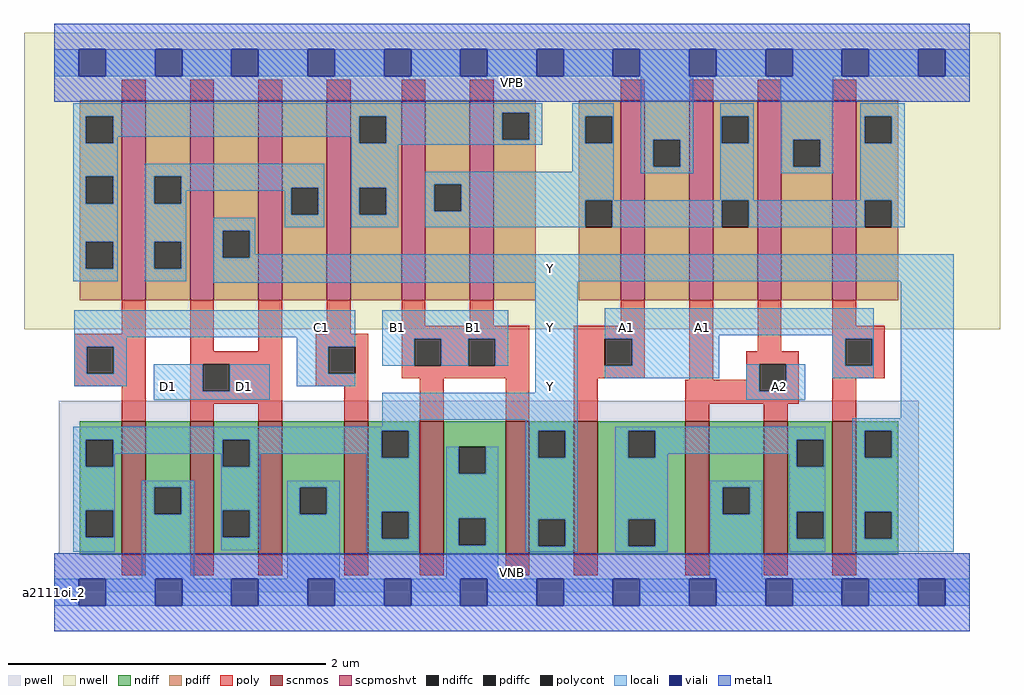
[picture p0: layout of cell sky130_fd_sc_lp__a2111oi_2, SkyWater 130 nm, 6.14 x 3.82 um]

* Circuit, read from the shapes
.subckt sky130_fd_sc_lp__a2111oi_2 A1 A2 B1 C1 D1 VGND VNB VPB VPWR Y
XM1 VGND C1 Y VNB sky130_fd_pr__nfet_01v8 w=0.84 l=0.15 m=2
XM2 Y D1 VGND VNB sky130_fd_pr__nfet_01v8 w=0.84 l=0.15 m=2
XM3 VGND B1 Y VNB sky130_fd_pr__nfet_01v8 w=0.84 l=0.15 m=2
XM4 n1 A1 Y VNB sky130_fd_pr__nfet_01v8 w=0.84 l=0.15 m=2
XM5 VGND A2 n1 VNB sky130_fd_pr__nfet_01v8 w=0.84 l=0.15 m=2
XM6 n2 C1 n3 VPB sky130_fd_pr__pfet_01v8_hvt w=1.26 l=0.15 m=2
XM7 Y D1 n2 VPB sky130_fd_pr__pfet_01v8_hvt w=1.26 l=0.15 m=2
XM8 n4 B1 n3 VPB sky130_fd_pr__pfet_01v8_hvt w=1.26 l=0.15 m=2
XM9 VPWR A1 n4 VPB sky130_fd_pr__pfet_01v8_hvt w=1.26 l=0.15 m=2
XM10 n4 A2 VPWR VPB sky130_fd_pr__pfet_01v8_hvt w=1.26 l=0.15 m=2
.ends

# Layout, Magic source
magic
tech sky130A
magscale 1 2
<< nwell >>
rect -38 331 1190 704
<< pwell >>
rect 6 49 1088 241
rect 0 0 1152 49
<< scnmos >>
rect 85 47 115 215
rect 171 47 201 215
rect 257 47 287 215
rect 365 47 395 215
rect 460 47 490 215
rect 568 47 598 215
rect 654 47 684 215
rect 794 47 824 215
rect 893 47 923 215
rect 979 47 1009 215
<< scpmoshvt >>
rect 85 367 115 619
rect 171 367 201 619
rect 257 367 287 619
rect 343 367 373 619
rect 437 367 467 619
rect 523 367 553 619
rect 713 367 743 619
rect 799 367 829 619
rect 885 367 915 619
rect 979 367 1009 619
<< ndiff >>
rect 32 192 85 215
rect 32 158 40 192
rect 74 158 85 192
rect 32 103 85 158
rect 32 69 40 103
rect 74 69 85 103
rect 32 47 85 69
rect 115 132 171 215
rect 115 98 126 132
rect 160 98 171 132
rect 115 47 171 98
rect 201 192 257 215
rect 201 158 212 192
rect 246 158 257 192
rect 201 103 257 158
rect 201 69 212 103
rect 246 69 257 103
rect 201 47 257 69
rect 287 132 365 215
rect 287 98 309 132
rect 343 98 365 132
rect 287 47 365 98
rect 395 203 460 215
rect 395 169 412 203
rect 446 169 460 203
rect 395 101 460 169
rect 395 67 412 101
rect 446 67 460 101
rect 395 47 460 67
rect 490 183 568 215
rect 490 149 509 183
rect 543 149 568 183
rect 490 93 568 149
rect 490 59 509 93
rect 543 59 568 93
rect 490 47 568 59
rect 598 203 654 215
rect 598 169 609 203
rect 643 169 654 203
rect 598 92 654 169
rect 598 58 609 92
rect 643 58 654 92
rect 598 47 654 58
rect 684 203 794 215
rect 684 169 722 203
rect 756 169 794 203
rect 684 92 794 169
rect 684 58 722 92
rect 756 58 794 92
rect 684 47 794 58
rect 824 132 893 215
rect 824 98 841 132
rect 875 98 893 132
rect 824 47 893 98
rect 923 192 979 215
rect 923 158 934 192
rect 968 158 979 192
rect 923 101 979 158
rect 923 67 934 101
rect 968 67 979 101
rect 923 47 979 67
rect 1009 203 1062 215
rect 1009 169 1020 203
rect 1054 169 1062 203
rect 1009 101 1062 169
rect 1009 67 1020 101
rect 1054 67 1062 101
rect 1009 47 1062 67
<< pdiff >>
rect 32 599 85 619
rect 32 565 40 599
rect 74 565 85 599
rect 32 523 85 565
rect 32 489 40 523
rect 74 489 85 523
rect 32 441 85 489
rect 32 407 40 441
rect 74 407 85 441
rect 32 367 85 407
rect 115 523 171 619
rect 115 489 126 523
rect 160 489 171 523
rect 115 441 171 489
rect 115 407 126 441
rect 160 407 171 441
rect 115 367 171 407
rect 201 455 257 619
rect 201 421 212 455
rect 246 421 257 455
rect 201 367 257 421
rect 287 509 343 619
rect 287 475 298 509
rect 332 475 343 509
rect 287 367 343 475
rect 373 599 437 619
rect 373 565 384 599
rect 418 565 437 599
rect 373 509 437 565
rect 373 475 384 509
rect 418 475 437 509
rect 373 367 437 475
rect 467 513 523 619
rect 467 479 478 513
rect 512 479 523 513
rect 467 367 523 479
rect 553 603 606 619
rect 553 569 564 603
rect 598 569 606 603
rect 553 367 606 569
rect 660 599 713 619
rect 660 565 668 599
rect 702 565 713 599
rect 660 493 713 565
rect 660 459 668 493
rect 702 459 713 493
rect 660 367 713 459
rect 743 569 799 619
rect 743 535 754 569
rect 788 535 799 569
rect 743 367 799 535
rect 829 599 885 619
rect 829 565 840 599
rect 874 565 885 599
rect 829 493 885 565
rect 829 459 840 493
rect 874 459 885 493
rect 829 367 885 459
rect 915 569 979 619
rect 915 535 930 569
rect 964 535 979 569
rect 915 367 979 535
rect 1009 599 1062 619
rect 1009 565 1020 599
rect 1054 565 1062 599
rect 1009 493 1062 565
rect 1009 459 1020 493
rect 1054 459 1062 493
rect 1009 367 1062 459
<< ndiffc >>
rect 40 158 74 192
rect 40 69 74 103
rect 126 98 160 132
rect 212 158 246 192
rect 212 69 246 103
rect 309 98 343 132
rect 412 169 446 203
rect 412 67 446 101
rect 509 149 543 183
rect 509 59 543 93
rect 609 169 643 203
rect 609 58 643 92
rect 722 169 756 203
rect 722 58 756 92
rect 841 98 875 132
rect 934 158 968 192
rect 934 67 968 101
rect 1020 169 1054 203
rect 1020 67 1054 101
<< pdiffc >>
rect 40 565 74 599
rect 40 489 74 523
rect 40 407 74 441
rect 126 489 160 523
rect 126 407 160 441
rect 212 421 246 455
rect 298 475 332 509
rect 384 565 418 599
rect 384 475 418 509
rect 478 479 512 513
rect 564 569 598 603
rect 668 565 702 599
rect 668 459 702 493
rect 754 535 788 569
rect 840 565 874 599
rect 840 459 874 493
rect 930 535 964 569
rect 1020 565 1054 599
rect 1020 459 1054 493
<< poly >>
rect 85 619 115 645
rect 171 619 201 645
rect 257 619 287 645
rect 343 619 373 645
rect 437 619 467 645
rect 523 619 553 645
rect 713 619 743 645
rect 799 619 829 645
rect 885 619 915 645
rect 979 619 1009 645
rect 85 325 115 367
rect 25 309 115 325
rect 25 275 41 309
rect 75 275 115 309
rect 25 259 115 275
rect 85 215 115 259
rect 171 303 201 367
rect 257 303 287 367
rect 343 325 373 367
rect 437 335 467 367
rect 523 335 553 367
rect 713 335 743 367
rect 171 287 287 303
rect 171 253 187 287
rect 221 253 287 287
rect 329 309 395 325
rect 329 275 345 309
rect 379 275 395 309
rect 329 259 395 275
rect 437 319 598 335
rect 437 285 453 319
rect 487 285 521 319
rect 555 285 598 319
rect 437 269 598 285
rect 171 237 287 253
rect 171 215 201 237
rect 257 215 287 237
rect 365 215 395 259
rect 460 215 490 269
rect 568 215 598 269
rect 654 319 743 335
rect 654 285 693 319
rect 727 285 743 319
rect 654 269 743 285
rect 654 215 684 269
rect 799 267 829 367
rect 885 303 915 367
rect 979 335 1009 367
rect 979 319 1045 335
rect 871 287 937 303
rect 871 267 887 287
rect 794 253 887 267
rect 921 253 937 287
rect 794 237 937 253
rect 979 285 995 319
rect 1029 285 1045 319
rect 979 269 1045 285
rect 794 215 824 237
rect 893 215 923 237
rect 979 215 1009 269
rect 85 21 115 47
rect 171 21 201 47
rect 257 21 287 47
rect 365 21 395 47
rect 460 21 490 47
rect 568 21 598 47
rect 654 21 684 47
rect 794 21 824 47
rect 893 21 923 47
rect 979 21 1009 47
<< polycont >>
rect 41 275 75 309
rect 187 253 221 287
rect 345 275 379 309
rect 453 285 487 319
rect 521 285 555 319
rect 693 285 727 319
rect 887 253 921 287
rect 995 285 1029 319
<< locali >>
rect 0 649 31 683
rect 65 649 127 683
rect 161 649 223 683
rect 257 649 319 683
rect 353 649 415 683
rect 449 649 511 683
rect 545 649 607 683
rect 641 649 703 683
rect 737 649 799 683
rect 833 649 895 683
rect 929 649 991 683
rect 1025 649 1087 683
rect 1121 649 1152 683
rect 24 603 614 615
rect 24 599 564 603
rect 24 565 40 599
rect 74 573 384 599
rect 74 565 80 573
rect 24 523 80 565
rect 374 565 384 573
rect 418 569 564 599
rect 598 569 614 603
rect 418 565 614 569
rect 374 563 614 565
rect 652 599 704 615
rect 652 565 668 599
rect 702 565 704 599
rect 24 489 40 523
rect 74 489 80 523
rect 24 441 80 489
rect 24 407 40 441
rect 74 407 80 441
rect 24 391 80 407
rect 114 523 340 539
rect 114 489 126 523
rect 160 509 340 523
rect 160 505 298 509
rect 160 489 166 505
rect 114 441 166 489
rect 290 475 298 505
rect 332 475 340 509
rect 114 407 126 441
rect 160 407 166 441
rect 114 391 166 407
rect 200 455 253 471
rect 290 459 340 475
rect 374 509 433 563
rect 652 529 704 565
rect 374 475 384 509
rect 418 475 433 509
rect 374 459 433 475
rect 467 513 704 529
rect 738 569 804 649
rect 738 535 754 569
rect 788 535 804 569
rect 738 527 804 535
rect 838 599 880 615
rect 838 565 840 599
rect 874 565 880 599
rect 467 479 478 513
rect 512 493 704 513
rect 838 493 880 565
rect 914 569 980 649
rect 914 535 930 569
rect 964 535 980 569
rect 914 527 980 535
rect 1014 599 1070 615
rect 1014 565 1020 599
rect 1054 565 1070 599
rect 1014 493 1070 565
rect 512 479 668 493
rect 467 459 668 479
rect 702 459 840 493
rect 874 459 1020 493
rect 1054 459 1070 493
rect 200 421 212 455
rect 246 425 253 455
rect 246 421 1132 425
rect 200 391 1132 421
rect 200 389 659 391
rect 25 321 379 355
rect 25 309 91 321
rect 25 275 41 309
rect 75 275 91 309
rect 305 309 379 321
rect 25 259 91 275
rect 125 253 187 287
rect 221 253 271 287
rect 305 275 345 309
rect 413 319 571 355
rect 413 285 453 319
rect 487 285 521 319
rect 555 285 571 319
rect 305 259 379 275
rect 125 242 271 253
rect 605 251 659 389
rect 693 323 1031 357
rect 693 319 837 323
rect 727 285 837 319
rect 979 319 1031 323
rect 693 269 837 285
rect 413 217 659 251
rect 871 253 887 287
rect 921 253 945 287
rect 979 285 995 319
rect 1029 285 1031 319
rect 979 269 1031 285
rect 871 242 945 253
rect 1065 219 1132 391
rect 413 208 459 217
rect 24 203 459 208
rect 24 192 412 203
rect 24 158 40 192
rect 74 174 212 192
rect 74 158 76 174
rect 24 103 76 158
rect 210 158 212 174
rect 246 174 412 192
rect 246 158 259 174
rect 24 69 40 103
rect 74 69 76 103
rect 24 51 76 69
rect 110 132 176 140
rect 110 98 126 132
rect 160 98 176 132
rect 110 17 176 98
rect 210 103 259 158
rect 393 169 412 174
rect 446 169 459 203
rect 593 203 659 217
rect 210 69 212 103
rect 246 69 259 103
rect 210 53 259 69
rect 293 132 359 140
rect 293 98 309 132
rect 343 98 359 132
rect 293 17 359 98
rect 393 101 459 169
rect 393 67 412 101
rect 446 67 459 101
rect 393 51 459 67
rect 493 149 509 183
rect 543 149 559 183
rect 493 93 559 149
rect 493 59 509 93
rect 543 59 559 93
rect 493 17 559 59
rect 593 169 609 203
rect 643 169 659 203
rect 593 92 659 169
rect 593 58 609 92
rect 643 58 659 92
rect 593 51 659 58
rect 706 203 970 208
rect 706 169 722 203
rect 756 192 970 203
rect 756 174 934 192
rect 756 169 772 174
rect 706 92 772 169
rect 925 158 934 174
rect 968 158 970 192
rect 706 58 722 92
rect 756 58 772 92
rect 706 51 772 58
rect 825 132 891 140
rect 825 98 841 132
rect 875 98 891 132
rect 825 17 891 98
rect 925 101 970 158
rect 925 67 934 101
rect 968 67 970 101
rect 925 51 970 67
rect 1004 203 1132 219
rect 1004 169 1020 203
rect 1054 169 1132 203
rect 1004 101 1132 169
rect 1004 67 1020 101
rect 1054 67 1132 101
rect 1004 51 1132 67
rect 0 -17 31 17
rect 65 -17 127 17
rect 161 -17 223 17
rect 257 -17 319 17
rect 353 -17 415 17
rect 449 -17 511 17
rect 545 -17 607 17
rect 641 -17 703 17
rect 737 -17 799 17
rect 833 -17 895 17
rect 929 -17 991 17
rect 1025 -17 1087 17
rect 1121 -17 1152 17
<< viali >>
rect 31 649 65 683
rect 127 649 161 683
rect 223 649 257 683
rect 319 649 353 683
rect 415 649 449 683
rect 511 649 545 683
rect 607 649 641 683
rect 703 649 737 683
rect 799 649 833 683
rect 895 649 929 683
rect 991 649 1025 683
rect 1087 649 1121 683
rect 31 -17 65 17
rect 127 -17 161 17
rect 223 -17 257 17
rect 319 -17 353 17
rect 415 -17 449 17
rect 511 -17 545 17
rect 607 -17 641 17
rect 703 -17 737 17
rect 799 -17 833 17
rect 895 -17 929 17
rect 991 -17 1025 17
rect 1087 -17 1121 17
<< metal1 >>
rect 0 683 1152 715
rect 0 649 31 683
rect 65 649 127 683
rect 161 649 223 683
rect 257 649 319 683
rect 353 649 415 683
rect 449 649 511 683
rect 545 649 607 683
rect 641 649 703 683
rect 737 649 799 683
rect 833 649 895 683
rect 929 649 991 683
rect 1025 649 1087 683
rect 1121 649 1152 683
rect 0 617 1152 649
rect 0 17 1152 49
rect 0 -17 31 17
rect 65 -17 127 17
rect 161 -17 223 17
rect 257 -17 319 17
rect 353 -17 415 17
rect 449 -17 511 17
rect 545 -17 607 17
rect 641 -17 703 17
rect 737 -17 799 17
rect 833 -17 895 17
rect 929 -17 991 17
rect 1025 -17 1087 17
rect 1121 -17 1152 17
rect 0 -49 1152 -17
<< labels >>
flabel pwell s 0 0 1152 49 0 FreeSans 200 0 0 0 VNB
port 7 nsew ground bidirectional
flabel nwell s 0 617 1152 666 0 FreeSans 200 0 0 0 VPB
port 8 nsew power bidirectional
rlabel comment s 0 0 0 0 4 a2111oi_2
flabel metal1 s 0 617 1152 666 0 FreeSans 340 0 0 0 VPWR
port 9 nsew power bidirectional
flabel metal1 s 0 0 1152 49 0 FreeSans 340 0 0 0 VGND
port 6 nsew ground bidirectional
flabel locali s 607 242 641 276 0 FreeSans 340 0 0 0 Y
port 10 nsew signal output
flabel locali s 607 316 641 350 0 FreeSans 340 0 0 0 Y
port 10 nsew signal output
flabel locali s 607 390 641 424 0 FreeSans 340 0 0 0 Y
port 10 nsew signal output
flabel locali s 895 242 929 276 0 FreeSans 340 0 0 0 A2
port 2 nsew signal input
flabel locali s 415 316 449 350 0 FreeSans 340 0 0 0 B1
port 3 nsew signal input
flabel locali s 511 316 545 350 0 FreeSans 340 0 0 0 B1
port 3 nsew signal input
flabel locali s 127 242 161 276 0 FreeSans 340 0 0 0 D1
port 5 nsew signal input
flabel locali s 223 242 257 276 0 FreeSans 340 0 0 0 D1
port 5 nsew signal input
flabel locali s 319 316 353 350 0 FreeSans 340 0 0 0 C1
port 4 nsew signal input
flabel locali s 703 316 737 350 0 FreeSans 340 0 0 0 A1
port 1 nsew signal input
flabel locali s 799 316 833 350 0 FreeSans 340 0 0 0 A1
port 1 nsew signal input
<< properties >>
string LEFsite unit
string LEFclass CORE
string FIXED_BBOX 0 0 1152 666
string GDS_FILE $PDKPATH/libs.ref/sky130_fd_sc_lp/gds/sky130_fd_sc_lp.gds
string LEFsymmetry X Y R90
string GDS_END 4793088
string GDS_START 4783382
<< end >>
